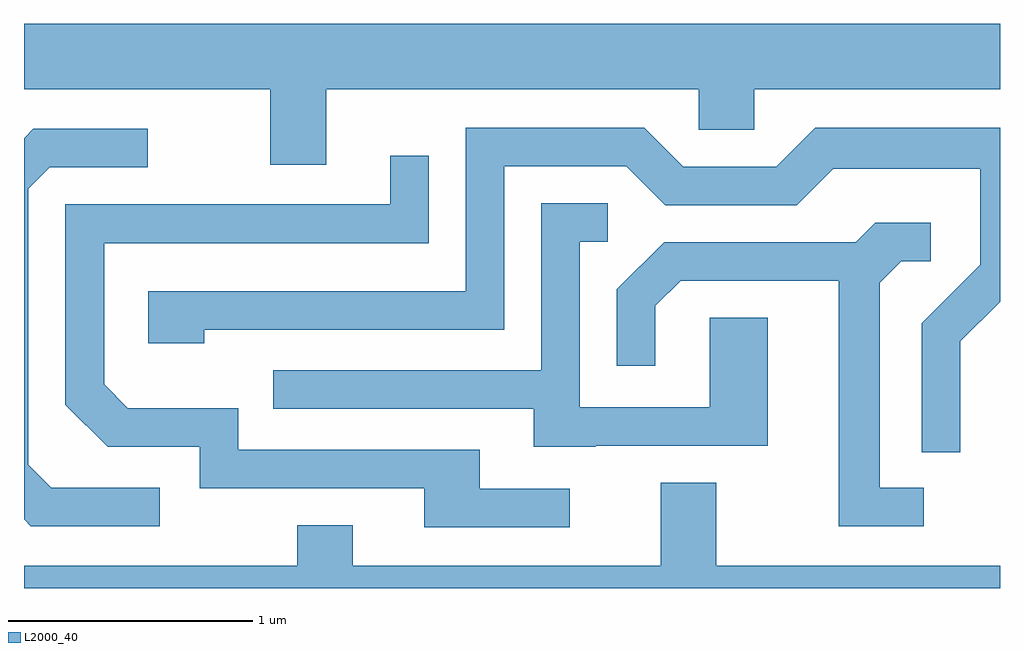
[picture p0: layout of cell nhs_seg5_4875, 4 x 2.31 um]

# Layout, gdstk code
import gdstk
lib = gdstk.Library(unit=1e-6, precision=1e-09)
def P(c, l, *ps):  # polygons
    for p in ps: c.add(gdstk.Polygon(p, *l))
L2000_40 = (2000, 40)

nhs_seg5_4875 = lib.new_cell('nhs_seg5_4875')
P(nhs_seg5_4875, L2000_40, [(330.849,1470.116),(332.376,1470.116),(332.376,1469.951),(332.604,1469.951),(332.604,1470.116),(333.611,1470.116),(333.611,1470.384),(329.611,1470.384),(329.611,1470.116),(330.621,1470.116),(330.621,1469.806),(330.849,1469.806)],
  [(333.449,1469.084),(333.611,1469.246),(333.611,1469.959),(332.854,1469.959),(332.694,1469.799),(332.312,1469.799),(332.152,1469.959),(331.421,1469.959),(331.421,1469.289),(330.121,1469.289),(330.121,1469.076),(330.349,1469.076),(330.349,1469.131),(331.579,1469.131),(331.579,1469.801),(332.079,1469.801),(332.239,1469.641),(332.777,1469.641),(332.927,1469.791),(333.531,1469.791),(333.531,1469.397),(333.291,1469.157),(333.291,1468.628),(333.449,1468.628)],
  [(330.168,1468.484),(329.722,1468.484),(329.629,1468.577),(329.629,1469.709),(329.717,1469.796),(330.118,1469.796),(330.118,1469.954),(329.649,1469.954),(329.611,1469.916),(329.611,1468.354),(329.639,1468.326),(330.168,1468.326)],
  [(331.848,1468.479),(331.479,1468.479),(331.479,1468.639),(330.489,1468.639),(330.489,1468.809),(330.037,1468.809),(329.939,1468.907),(329.939,1469.486),(331.269,1469.486),(331.269,1469.843),(331.111,1469.843),(331.111,1469.644),(329.781,1469.644),(329.781,1468.824),(329.954,1468.651),(330.331,1468.651),(330.331,1468.481),(331.251,1468.481),(331.251,1468.321),(331.848,1468.321)],
  [(331.955,1468.656),(332.659,1468.656),(332.659,1469.179),(332.421,1469.179),(332.421,1468.814),(331.889,1468.814),(331.889,1469.491),(332.003,1469.491),(332.003,1469.649),(331.731,1469.649),(331.731,1468.964),(330.633,1468.964),(330.633,1468.806),(331.701,1468.806),(331.701,1468.651),(331.955,1468.651)],
  [(333.298,1468.484),(333.119,1468.484),(333.119,1469.324),(333.207,1469.411),(333.328,1469.411),(333.328,1469.569),(333.099,1469.569),(333.019,1469.489),(332.234,1469.489),(332.041,1469.297),(332.041,1468.983),(332.199,1468.983),(332.199,1469.229),(332.302,1469.331),(332.951,1469.331),(332.951,1468.326),(333.298,1468.326)],
  [(333.611,1468.164),(332.449,1468.164),(332.449,1468.504),(332.221,1468.504),(332.221,1468.164),(330.959,1468.164),(330.959,1468.329),(330.731,1468.329),(330.731,1468.164),(329.611,1468.164),(329.611,1468.072),(333.611,1468.072)])

lib.write_gds('nhs_seg5_4875.gds')
